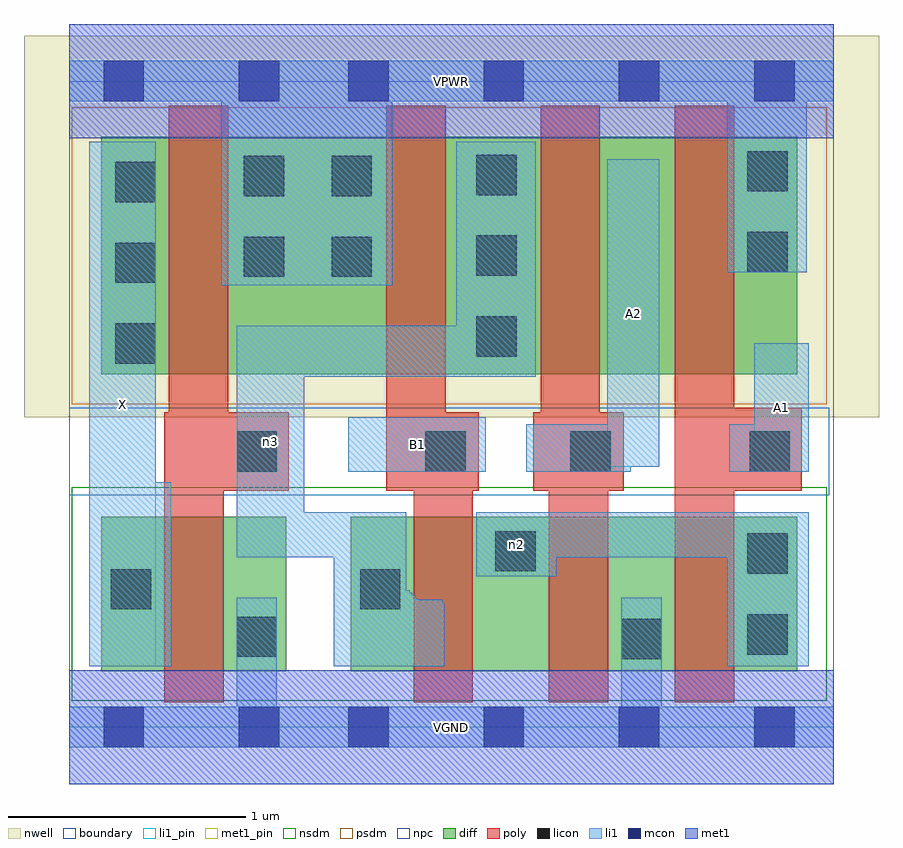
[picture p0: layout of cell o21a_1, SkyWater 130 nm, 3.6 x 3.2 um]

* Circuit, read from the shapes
.subckt o21a_1 A1 A2 B1 VGND VPWR X n2 n3
XM1 VGND n3 X VSUBS sky130_fd_pr__nfet_01v8 w=0.65 l=0.25
XM2 n2 B1 n3 VSUBS sky130_fd_pr__nfet_01v8 w=0.65 l=0.25
XM3 VGND A2 n2 VSUBS sky130_fd_pr__nfet_01v8 w=0.65 l=0.25
XM4 n2 A1 VGND VSUBS sky130_fd_pr__nfet_01v8 w=0.65 l=0.25
XM5 VPWR n3 X n1 sky130_fd_pr__pfet_01v8 w=1 l=0.25
XM6 n3 B1 VPWR n1 sky130_fd_pr__pfet_01v8 w=1 l=0.25
XM7 n4 A2 n3 n1 sky130_fd_pr__pfet_01v8 w=1 l=0.25
XM8 VPWR A1 n4 n1 sky130_fd_pr__pfet_01v8 w=1 l=0.25
.ends

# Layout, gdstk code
import gdstk
lib = gdstk.Library(unit=1e-6, precision=1e-09)
def R(c, l, rs):  # rectangles x0, y0, x1, y1
    for r in rs: c.add(gdstk.rectangle(r[:2], r[2:], *l))
def A(c, l, x, y, w, h, nx, ny, dx, dy):  # array of equal rectangles
    R(c, l, [(x+i*dx, y+j*dy, x+i*dx+w, y+j*dy+h) for i in range(nx) for j in range(ny)])
nwell = (64, 20)
diff = (65, 20)
poly = (66, 20)
licon = (66, 44)
li1_pin = (67, 16)
li1 = (67, 20)
mcon = (67, 44)
met1_pin = (68, 16)
met1 = (68, 20)
nsdm = (93, 44)
psdm = (94, 20)
npc = (95, 20)
boundary = (235, 4)

o21a_1 = lib.new_cell('o21a_1')
R(o21a_1, nwell, [(-0.19,1.305,3.41,2.91), (0,1.305,3.22,2.91)])
R(o21a_1, diff, [(0.135,0.235,0.915,0.885), (1.185,0.235,3.065,0.885), (0.135,1.485,3.065,2.485)])
R(o21a_1, poly, [(0.4,0.105,0.65,1.325), (1.45,0.105,1.7,1.325), (2.02,0.105,2.27,1.325), (2.55,0.105,2.8,2.615), (0.4,0.995,0.925,1.325), (0.42,0.995,0.67,2.615), (1.335,0.995,1.585,2.615), (1.335,0.995,1.725,1.325), (1.955,0.995,2.335,1.325), (1.985,0.995,2.235,2.615), (2.55,0.995,3.085,1.345)])
A(o21a_1, licon, 0.195, 1.53, 0.17, 0.17, 1, 3, 0, 0.34)
A(o21a_1, licon, 1.715, 1.56, 0.17, 0.17, 1, 3, 0, 0.34)
R(o21a_1, licon, [(2.325,0.285,2.495,0.455), (0.705,0.295,0.875,0.465), (2.855,0.305,3.025,0.475), (0.175,0.495,0.345,0.665), (1.225,0.495,1.395,0.665), (2.855,0.645,3.025,0.815), (1.795,0.655,1.965,0.825), (0.705,1.075,0.875,1.245), (1.5,1.075,1.67,1.245), (2.11,1.075,2.28,1.245), (2.865,1.075,3.035,1.245), (0.735,1.895,0.905,2.065), (1.105,1.895,1.275,2.065), (2.855,1.915,3.025,2.085), (0.735,2.235,0.905,2.405), (1.105,2.235,1.275,2.405), (2.855,2.255,3.025,2.425)])
R(o21a_1, li1_pin, [(0.085,0.255,0.365,2.465), (1.175,1.075,1.755,1.305), (2.885,1.075,3.115,1.615), (2.265,1.095,2.485,2.39)])
R(o21a_1, li1, [(0,-0.085,3.22,0.085), (0.705,-0.085,0.875,0.545), (2.325,-0.085,2.495,0.545), (0.085,0.255,0.365,2.465), (0.085,0.255,0.43,1.03), (1.115,0.255,1.42,0.905), (1.115,0.255,1.58,0.52), (1.115,0.255,1.455,0.555), (1.115,0.255,1.435,0.575), (1.115,0.255,1.57,0.535), (1.115,0.255,1.445,0.565), (1.115,0.255,1.46,0.55), (1.115,0.255,1.465,0.54), (1.115,0.255,1.575,0.525), (2.77,0.255,3.115,0.905), (1.715,0.635,2.05,0.905), (0.705,0.715,0.99,1.69), (0.705,0.715,1.42,0.905), (1.715,0.715,3.115,0.905), (1.175,1.075,1.755,1.305), (1.925,1.075,2.365,1.275), (2.78,1.075,3.115,1.275), (2.885,1.075,3.115,1.615), (2.265,1.095,2.485,2.39), (0.705,1.475,1.965,1.69), (1.63,1.475,1.965,2.465), (0.64,1.86,1.36,2.805), (2.77,1.915,3.105,2.805), (0,2.635,3.22,2.805)])
A(o21a_1, mcon, 1.175, -0.085, 0.17, 0.17, 4, 2, 0.57, 2.72)
R(o21a_1, mcon, [(0.145,-0.085,0.315,0.085), (0.715,-0.085,0.885,0.085), (0.145,2.635,0.315,2.805), (0.715,2.635,0.885,2.805)])
R(o21a_1, met1_pin, [(0,-0.24,3.22,0.24), (0,2.48,3.22,2.96)])
R(o21a_1, met1, [(0,-0.24,3.22,0.24), (0,2.48,3.22,2.96)])
R(o21a_1, nsdm, [(0.01,0.11,3.19,1.01)])
R(o21a_1, psdm, [(0.01,1.36,3.19,2.61)])
R(o21a_1, npc, [(0,0.975,3.2,1.345)])
R(o21a_1, boundary, [(0,0,3.22,2.72)])
o21a_1.add(gdstk.Label('A1', (3,1.345), layer=67, texttype=5))
o21a_1.add(gdstk.Label('A2', (2.375,1.742), layer=67, texttype=5))
o21a_1.add(gdstk.Label('B1', (1.465,1.19), layer=67, texttype=5))
o21a_1.add(gdstk.Label('X', (0.225,1.36), layer=67, texttype=5))
o21a_1.add(gdstk.Label('n2', (1.882,0.77), layer=67, texttype=5))
o21a_1.add(gdstk.Label('n3', (0.847,1.202), layer=67, texttype=5))
o21a_1.add(gdstk.Label('VPWR', (1.61,2.72), layer=68, texttype=5))
o21a_1.add(gdstk.Label('VGND', (1.61,0), layer=68, texttype=5))
o21a_1.add(gdstk.Label('A1', (3,1.345), layer=67, texttype=16))
o21a_1.add(gdstk.Label('A2', (2.375,1.742), layer=67, texttype=16))
o21a_1.add(gdstk.Label('B1', (1.465,1.19), layer=67, texttype=16))
o21a_1.add(gdstk.Label('X', (0.225,1.36), layer=67, texttype=16))
o21a_1.add(gdstk.Label('VPWR', (1.61,2.72), layer=68, texttype=16))
o21a_1.add(gdstk.Label('VGND', (1.61,0), layer=68, texttype=16))

lib.write_gds('o21a_1.gds')
